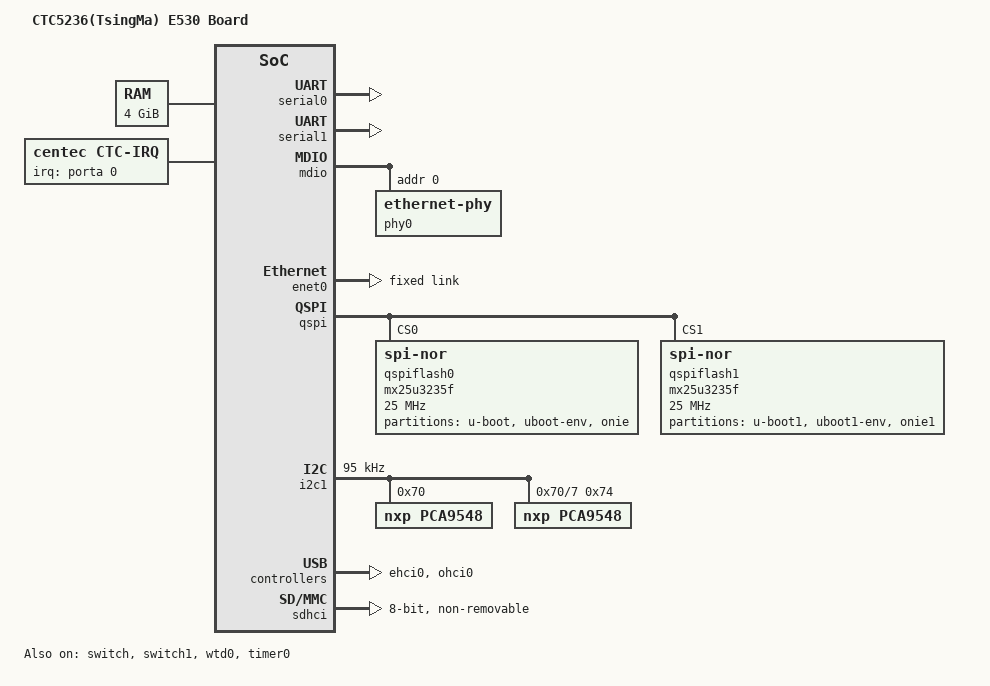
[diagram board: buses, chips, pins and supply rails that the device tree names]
/*
 * dts file for Centec CTC5236(TsingMa) SoC E530-24X2C Board
 *
 * (C) Copyright 2004-2018 Centec Networks (suzhou) Co., LTD.
 *
 * liuht <liuht@centecnetworks.com>
 *
 * This program is free software; you can redistribute it and/or
 * modify it under the terms of the GNU General Public License as
 * published by the Free Software Foundation; either version 2 of
 * the License, or (at your option) any later version.
 */

/dts-v1/;
#include "ctc5236.dtsi"

/ {
	model = " CTC5236(TsingMa) E530 Board";
	compatible = "ctc5236,e530-ctc5236";

	memory@0 {
		device_type = "memory";
		reg = <0 0x80000000 0x1 0x00000000>;
	};

	chosen {
		stdout-path = "serial0:115200n8";
	};

	aliases {
		serial0 = &serial0;
		serial1 = &serial1;
		ethernet0 = &enet0;
		ethernet1 = &enet1;

		i2c0 = &i2c1;
		/* 0 0x70 */
		i2c1 = &imux1;
		i2c2 = &imux2;
		i2c3 = &imux3;
		i2c4 = &imux4;
		i2c5 = &imux5;
		i2c6 = &imux6;
		i2c7 = &imux7;
		i2c8 = &imux8;
		/* 8 0x74 */
		i2c9 = &imux9;
		i2c10 = &imux10;
		i2c11 = &imux11;
		i2c12 = &imux12;
		i2c13 = &imux13;
		i2c14 = &imux14;
		i2c15 = &imux15;
		i2c16 = &imux16;
	};

};

&serial0 {
	status = "okay";
};

&serial1 {
	status = "okay";
};

&mdio {
	status = "okay";
	phy0: ethernet-phy@0 {
		index = <0x00>;
		reg = <0x00>;
	};
};

&enet0 {
	status = "okay";
	auto-nego-mode= "sgmii-mac";
        fixed-link {
                speed = <1000>;
                full-duplex;
        };
};

&qspi {
	status = "okay";
		
	qspiflash0: mx25u3235f@0 {
		compatible = "jedec,spi-nor";
		reg = <0x0>;
		spi-cpha; 
		spi-cpol;
		spi-max-frequency = <25000000>;
		
		partitions {
			compatible = "fixed-partitions";
			#address-cells = <1>;
			#size-cells = <1>;

			partition@0 {
				label = "u-boot";
				reg = <0x0 0x300000>;
			};
			partition@300000 {
				label = "uboot-env";
				reg = <0x300000 0x10000>;
			};
			partition@310000 {
				label = "onie";
				reg = <0x310000 0x1cf0000>;
			};
		};
	};

	qspiflash1: mx25u3235f@1 {
		compatible = "jedec,spi-nor";
		reg = <0x1>;
		spi-cpha; 
		spi-cpol;
		spi-max-frequency = <25000000>;
		
		partitions {
			compatible = "fixed-partitions";
			#address-cells = <1>;
			#size-cells = <1>;

			partition@0 {
				label = "u-boot1";
				reg = <0x0 0x300000>;
			};
			partition@300000 {
				label = "uboot1-env";
				reg = <0x300000 0x10000>;
			};
			partition@310000 {
				label = "onie1";
				reg = <0x310000 0x1cf0000>;
			};
		};
	};
};

&spi {
	status = "disabled";
	pinctrl-names = "default";
	pinctrl-0 = <&spi_pin>;

	clock0: ad9559@1 {
		compatible = "analog,ad9559";
		reg = <1>;
		spi-max-frequency = <25000000>;
	};
};

&switch {
	status = "okay";
};

&switch1 {
	status = "okay";
};


&i2c1{
	status = "okay";
	clock-frequency = <95000>;

	pca9548@70 {
		compatible = "nxp,pca9548";
		reg = <0x70>;
		#address-cells = <1>;
		#size-cells = <0>;

		imux1:i2c@0 { 
			reg = <0>; 
		};
		imux2:i2c@1 { 
			#address-cells = <1>;
			#size-cells = <0>;
			reg = <1>; 
		};
		imux3:i2c@2 { 
			#address-cells = <1>;
			#size-cells = <0>;
			reg = <2>; 
		};
		imux4:i2c@3 { 
			#address-cells = <1>;
			#size-cells = <0>;
			reg = <3>; 
		};
		imux5:i2c@4 { 
			#address-cells = <1>;
			#size-cells = <0>;
			reg = <4>; 
		};
		imux6:i2c@5 { 
			#address-cells = <1>;
			#size-cells = <0>;
			reg = <5>; 
		};
		imux7:i2c@6 { 
			#address-cells = <1>;
			#size-cells = <0>;
			reg = <6>; 
		};
		imux8:i2c@7 { 
			#address-cells = <1>;
			#size-cells = <0>;
			reg = <7>; 
			pca9548@74 {
				#address-cells = <1>;
				#size-cells = <0>;
				compatible = "nxp,pca9548";
				reg = <0x74>;
				imux9:i2c@0 { 
					#address-cells = <1>;
					#size-cells = <0>;
					reg = <0>; 
				};
				imux10:i2c@1 { 
					#address-cells = <1>;
					#size-cells = <0>;
					reg = <1>; 
				};
				imux11:i2c@2 { 
					#address-cells = <1>;
					#size-cells = <0>;
					reg = <2>; 
				};
				imux12:i2c@3 { 
					#address-cells = <1>;
					#size-cells = <0>;
					reg = <3>; 
				};
				imux13:i2c@4 { 
					#address-cells = <1>;
					#size-cells = <0>;
					reg = <4>; 
				};
				imux14:i2c@5 { 
					#address-cells = <1>;
					#size-cells = <0>;
					reg = <5>; 
				};
				imux15:i2c@6 { 
					#address-cells = <1>;
					#size-cells = <0>;
					reg = <6>; 
				};
				imux16:i2c@7 { 
					#address-cells = <1>;
					#size-cells = <0>;
					reg = <7>; 
				};
			};
		};
	};
};

&ehci0 {
	status = "okay";
};

&ohci0 {
	status = "okay";
};

&wtd0{
	status = "okay";
};

&wtd1{
	status = "disabled";
};

&sdhci {
	bus-width = <8>;
	max-frequency = <100000000>;
	non-removable;
	no-sd;
	no-sdio;
	voltage-ranges = <3300 3300>;
	status = "okay";
};

&timer0 {
	status = "okay";
};

&soc {
	ctc-irq {
		compatible = "centec,ctc-irq";
		device_type = "ctc-irq";
		interrupt-parent=<&porta>;
		interrupts = < 0 IRQ_TYPE_LEVEL_LOW>,
			< 1 IRQ_TYPE_LEVEL_LOW>,
			<15 IRQ_TYPE_LEVEL_LOW>,
			< 6 IRQ_TYPE_LEVEL_HIGH>,
			< 7 IRQ_TYPE_LEVEL_HIGH>;
	};
};

&pwm {
	status = "disabled";
};


&pinctrl {
	spi {
		spi_pin: spi_pin {
			status = "disabled";
			ctc,pins = <0 0 PIN_FUNC_SPI>,
				<0 2 PIN_FUNC_SPI>,
				<0 3 PIN_FUNC_SPI>,
				<0 5 PIN_FUNC_SPI>;
		};
	};

	pwm0 {
		pwm0_pin: pwm0_pin {
			ctc,pins = <0 8  PIN_FUNC_PWM>,
  				<0 9  PIN_FUNC_PWM>,
				<0 10 PIN_FUNC_PWM>,
				<0 11 PIN_FUNC_PWM>,
				<0 12 PIN_FUNC_PWM>,
				<0 13 PIN_FUNC_PWM>,
				<0 14 PIN_FUNC_PWM>,
				<0 15 PIN_FUNC_PWM>;
		};
	};
};
